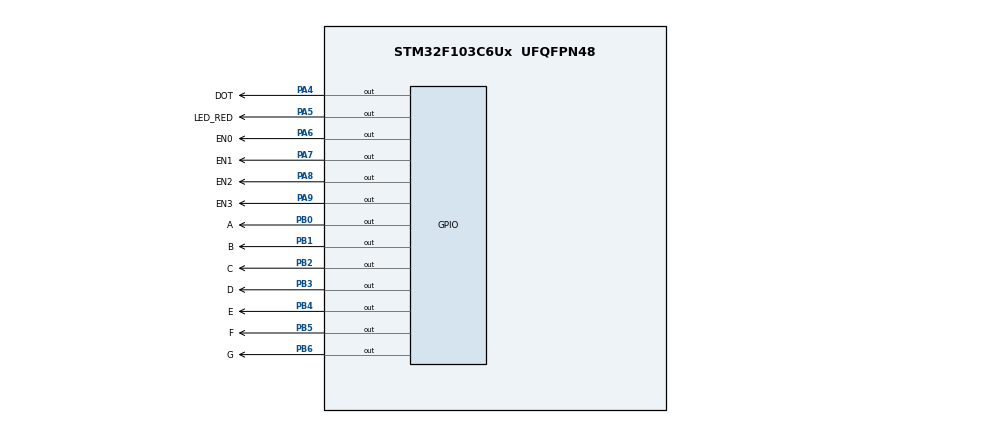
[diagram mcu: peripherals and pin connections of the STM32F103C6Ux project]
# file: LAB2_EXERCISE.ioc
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Mcu.Family=STM32F1
Mcu.Name=STM32F103C6Ux
Mcu.Package=UFQFPN48
NVIC.PriorityGroup=NVIC_PRIORITYGROUP_4
NVIC.TIM2_IRQn=true\:0\:0\:false\:false\:true\:true\:true
PA4.GPIO_Label=DOT
PA4.Signal=GPIO_Output
PA5.GPIO_Label=LED_RED
PA5.Signal=GPIO_Output
PA6.GPIO_Label=EN0
PA6.Signal=GPIO_Output
PA7.GPIO_Label=EN1
PA7.Signal=GPIO_Output
PA8.GPIO_Label=EN2
PA8.Signal=GPIO_Output
PA9.GPIO_Label=EN3
PA9.Signal=GPIO_Output
PB0.GPIO_Label=A
PB0.Signal=GPIO_Output
PB1.GPIO_Label=B
PB1.Signal=GPIO_Output
PB2.GPIO_Label=C
PB2.Signal=GPIO_Output
PB3.GPIO_Label=D
PB3.Signal=GPIO_Output
PB4.GPIO_Label=E
PB4.Signal=GPIO_Output
PB5.GPIO_Label=F
PB5.Signal=GPIO_Output
PB6.GPIO_Label=G
PB6.Signal=GPIO_Output
ProjectManager.HeapSize=0x200
ProjectManager.StackSize=0x400
ProjectManager.TargetToolchain=STM32CubeIDE
RCC.APB1Freq_Value=8000000
RCC.APB2Freq_Value=8000000
TIM2.Period=9
TIM2.Prescaler=7999
VP_SYS_VS_ND.Mode=No_Debug
VP_TIM2_VS_ClockSourceINT.Mode=Internal
board=custom

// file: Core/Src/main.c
/* USER CODE BEGIN Header */
/**
  ******************************************************************************
  * @file           : main.c
  * @brief          : Main program body
  ******************************************************************************
  * @attention
  *
  * <h2><center>&copy; Copyright (c) 2021 STMicroelectronics.
  * All rights reserved.</center></h2>
  *
  * This software component is licensed by ST under BSD 3-Clause license,
  * the "License"; You may not use this file except in compliance with the
  * License. You may obtain a copy of the License at:
  *                        opensource.org/licenses/BSD-3-Clause
  *
  ******************************************************************************
  */
/* USER CODE END Header */
#include "main.h"

TIM_HandleTypeDef htim2;

void SystemClock_Config(void);
static void MX_GPIO_Init(void);
static void MX_TIM2_Init(void);

/* USER CODE BEGIN 0 */
void display7SEG(int num){
	switch (num){
	  case 0:
		  HAL_GPIO_WritePin(GPIOB,G_Pin, GPIO_PIN_SET);
		  HAL_GPIO_WritePin(GPIOB,B_Pin|C_Pin|D_Pin|E_Pin|F_Pin|A_Pin, GPIO_PIN_RESET);
		  break;
	  case 1:
		  HAL_GPIO_WritePin(GPIOB,B_Pin|C_Pin, GPIO_PIN_RESET);
		  HAL_GPIO_WritePin(GPIOB,A_Pin|D_Pin|E_Pin|F_Pin|G_Pin, GPIO_PIN_SET);
	  	  break;
	  case 2:
		  HAL_GPIO_WritePin(GPIOB,F_Pin|C_Pin, GPIO_PIN_SET);
		  HAL_GPIO_WritePin(GPIOB,B_Pin|G_Pin|D_Pin|E_Pin|A_Pin, GPIO_PIN_RESET);
	  	  break;
	  case 3:
		  HAL_GPIO_WritePin(GPIOB,F_Pin|E_Pin, GPIO_PIN_SET);
		  HAL_GPIO_WritePin(GPIOB,B_Pin|G_Pin|D_Pin|C_Pin|A_Pin, GPIO_PIN_RESET);
	  	  break;
	  case 4:
		  HAL_GPIO_WritePin(GPIOB,A_Pin|E_Pin|D_Pin, GPIO_PIN_SET);
		  HAL_GPIO_WritePin(GPIOB,B_Pin|G_Pin|F_Pin|C_Pin, GPIO_PIN_RESET);
	  	  break;
	  case 5:
		  HAL_GPIO_WritePin(GPIOB,B_Pin|E_Pin, GPIO_PIN_SET);
		  HAL_GPIO_WritePin(GPIOB,F_Pin|G_Pin|D_Pin|C_Pin|A_Pin, GPIO_PIN_RESET);
	  	  break;
	  case 6:
		  HAL_GPIO_WritePin(GPIOB,B_Pin, GPIO_PIN_SET);
		  HAL_GPIO_WritePin(GPIOB,F_Pin|G_Pin|D_Pin|E_Pin|C_Pin|A_Pin, GPIO_PIN_RESET);
	  	  break;
	  case 7:
		  HAL_GPIO_WritePin(GPIOB,F_Pin|E_Pin|D_Pin|G_Pin, GPIO_PIN_SET);
		  HAL_GPIO_WritePin(GPIOB,B_Pin|C_Pin|A_Pin, GPIO_PIN_RESET);
	  	  break;
	  case 8:
		  HAL_GPIO_WritePin(GPIOB,B_Pin|C_Pin|D_Pin|E_Pin|F_Pin|A_Pin|G_Pin, GPIO_PIN_RESET);
	  	  break;
	  case 9:
		  HAL_GPIO_WritePin(GPIOB,E_Pin, GPIO_PIN_SET);
		  HAL_GPIO_WritePin(GPIOB,B_Pin|C_Pin|D_Pin|G_Pin|F_Pin|A_Pin, GPIO_PIN_RESET);
	  	  break;
	  default:
	  	  break;
	  }
  }

const int  MAX_LED = 4;
int index_led = 0;
int led_buffer[4];
void upd7Seg(int index){
	HAL_GPIO_WritePin(GPIOA,EN0_Pin|EN1_Pin|EN2_Pin|EN3_Pin, GPIO_PIN_SET);
	switch(index){
		case 0:
			HAL_GPIO_WritePin(GPIOA,EN0_Pin, GPIO_PIN_RESET);
			break;
		case 1:
			HAL_GPIO_WritePin(GPIOA,EN1_Pin, GPIO_PIN_RESET);
			break;
		case 2:
			HAL_GPIO_WritePin(GPIOA,EN2_Pin, GPIO_PIN_RESET);
			break;
		case 3:
			HAL_GPIO_WritePin(GPIOA,EN3_Pin, GPIO_PIN_RESET);
			break;
		default:
			break;
	}
	display7SEG(led_buffer[index]);
}

void updateClockBuffer(int hour, int minute){
	led_buffer[2] = hour/10;
	led_buffer[3] = hour%10;
	led_buffer[0] = minute/10;
	led_buffer[1] = minute%10;
}

int timer0_counter = 0;
int timer0_flag = 0;
int timer1_counter = 0;
int check =0;
int TIMER_CYCLE = 10;

void setTimer1 ( int duration_7seg ){
	timer1_counter = duration_7seg / TIMER_CYCLE ;
	timer0_flag = 0;
}

void timer_run (){
	if( timer1_counter > 0){
		timer1_counter --;
		if( timer1_counter == 0) {
			timer0_flag = 1;
			check++;
		}
	}
}
/* USER CODE END 0 */

int main(void)
{
  /* USER CODE BEGIN 1 */
	int hour = 15, minute = 8, second = 50;
  /* USER CODE END 1 */

  /* MCU Configuration--------------------------------------------------------*/

  /* Reset of all peripherals, Initializes the Flash interface and the Systick. */
  HAL_Init();

  /* Configure the system clock */
  SystemClock_Config();

  /* Initialize all configured peripherals */
  MX_GPIO_Init();
  MX_TIM2_Init();
  /* USER CODE BEGIN 2 */
  HAL_TIM_Base_Start_IT (& htim2 );
  /* USER CODE END 2 */

  /* Infinite loop */
  /* USER CODE BEGIN WHILE */
  setTimer1(250);
  while (1) {
	  if(timer0_flag == 1){
		  upd7Seg(index_led++);
		  if(index_led == 4) index_led = 0;
		  setTimer1(250);
		  if(check-4 == 0){
	  	  	  HAL_GPIO_TogglePin (GPIOA , LED_RED_Pin);
	  		  HAL_GPIO_TogglePin (GPIOA , DOT_Pin);
	  		  updateClockBuffer(second,minute);
	  		  second++;
	  		  if(second >= 60){
	  		  	  	second = 0;
	  		  	  	minute++;
	  		  }
	  		  if(minute >= 60){
	  		  	  	minute = 0;
	  		  	  	hour++;
	  		  }
	  		  if(hour >= 24){
	  		  	    hour = 0;
	  		  }
	  		  check = 0;
		  }
	  }
    /* USER CODE END WHILE */
  }
}

void SystemClock_Config(void)
{
  RCC_OscInitTypeDef RCC_OscInitStruct = {0};
  RCC_ClkInitTypeDef RCC_ClkInitStruct = {0};

  /** Initializes the RCC Oscillators according to the specified parameters
  * in the RCC_OscInitTypeDef structure.
  */
  RCC_OscInitStruct.OscillatorType = RCC_OSCILLATORTYPE_HSI;
  RCC_OscInitStruct.HSIState = RCC_HSI_ON;
  RCC_OscInitStruct.HSICalibrationValue = RCC_HSICALIBRATION_DEFAULT;
  RCC_OscInitStruct.PLL.PLLState = RCC_PLL_NONE;
  if (HAL_RCC_OscConfig(&RCC_OscInitStruct) != HAL_OK)
  {
    Error_Handler();
  }
  /** Initializes the CPU, AHB and APB buses clocks
  */
  RCC_ClkInitStruct.ClockType = RCC_CLOCKTYPE_HCLK|RCC_CLOCKTYPE_SYSCLK
                              |RCC_CLOCKTYPE_PCLK1|RCC_CLOCKTYPE_PCLK2;
  RCC_ClkInitStruct.SYSCLKSource = RCC_SYSCLKSOURCE_HSI;
  RCC_ClkInitStruct.AHBCLKDivider = RCC_SYSCLK_DIV1;
  RCC_ClkInitStruct.APB1CLKDivider = RCC_HCLK_DIV1;
  RCC_ClkInitStruct.APB2CLKDivider = RCC_HCLK_DIV1;

  if (HAL_RCC_ClockConfig(&RCC_ClkInitStruct, FLASH_LATENCY_0) != HAL_OK)
  {
    Error_Handler();
  }
}

static void MX_TIM2_Init(void)
{

  TIM_ClockConfigTypeDef sClockSourceConfig = {0};
  TIM_MasterConfigTypeDef sMasterConfig = {0};

  htim2.Instance = TIM2;
  htim2.Init.Prescaler = 7999;
  htim2.Init.CounterMode = TIM_COUNTERMODE_UP;
  htim2.Init.Period = 9;
  htim2.Init.ClockDivision = TIM_CLOCKDIVISION_DIV1;
  htim2.Init.AutoReloadPreload = TIM_AUTORELOAD_PRELOAD_DISABLE;
  if (HAL_TIM_Base_Init(&htim2) != HAL_OK)
  {
    Error_Handler();
  }
  sClockSourceConfig.ClockSource = TIM_CLOCKSOURCE_INTERNAL;
  if (HAL_TIM_ConfigClockSource(&htim2, &sClockSourceConfig) != HAL_OK)
  {
    Error_Handler();
  }
  sMasterConfig.MasterOutputTrigger = TIM_TRGO_RESET;
  sMasterConfig.MasterSlaveMode = TIM_MASTERSLAVEMODE_DISABLE;
  if (HAL_TIMEx_MasterConfigSynchronization(&htim2, &sMasterConfig) != HAL_OK)
  {
    Error_Handler();
  }

}

static void MX_GPIO_Init(void)
{
  GPIO_InitTypeDef GPIO_InitStruct = {0};

  /* GPIO Ports Clock Enable */
  __HAL_RCC_GPIOA_CLK_ENABLE();
  __HAL_RCC_GPIOB_CLK_ENABLE();

  /*Configure GPIO pin Output Level */
  HAL_GPIO_WritePin(GPIOA, DOT_Pin|LED_RED_Pin|EN0_Pin|EN1_Pin
                          |EN2_Pin|EN3_Pin, GPIO_PIN_RESET);

  /*Configure GPIO pin Output Level */
  HAL_GPIO_WritePin(GPIOB, A_Pin|B_Pin|C_Pin|D_Pin
                          |E_Pin|F_Pin|G_Pin, GPIO_PIN_RESET);

  /*Configure GPIO pins : DOT_Pin LED_RED_Pin EN0_Pin EN1_Pin
                           EN2_Pin EN3_Pin */
  GPIO_InitStruct.Pin = DOT_Pin|LED_RED_Pin|EN0_Pin|EN1_Pin
                          |EN2_Pin|EN3_Pin;
  GPIO_InitStruct.Mode = GPIO_MODE_OUTPUT_PP;
  GPIO_InitStruct.Pull = GPIO_NOPULL;
  GPIO_InitStruct.Speed = GPIO_SPEED_FREQ_LOW;
  HAL_GPIO_Init(GPIOA, &GPIO_InitStruct);

  /*Configure GPIO pins : A_Pin B_Pin C_Pin D_Pin
                           E_Pin F_Pin G_Pin */
  GPIO_InitStruct.Pin = A_Pin|B_Pin|C_Pin|D_Pin
                          |E_Pin|F_Pin|G_Pin;
  GPIO_InitStruct.Mode = GPIO_MODE_OUTPUT_PP;
  GPIO_InitStruct.Pull = GPIO_NOPULL;
  GPIO_InitStruct.Speed = GPIO_SPEED_FREQ_LOW;
  HAL_GPIO_Init(GPIOB, &GPIO_InitStruct);

}

/* USER CODE BEGIN 4 */
//int counter_7Seg = 25;
//int counter_Led = 100;

void HAL_TIM_PeriodElapsedCallback ( TIM_HandleTypeDef * htim ){
	timer_run ();
}
/* USER CODE END 4 */

void Error_Handler(void)
{
  __disable_irq();
  while (1)
  {
  }
}

/************************ (C) COPYRIGHT STMicroelectronics *****END OF FILE****/
